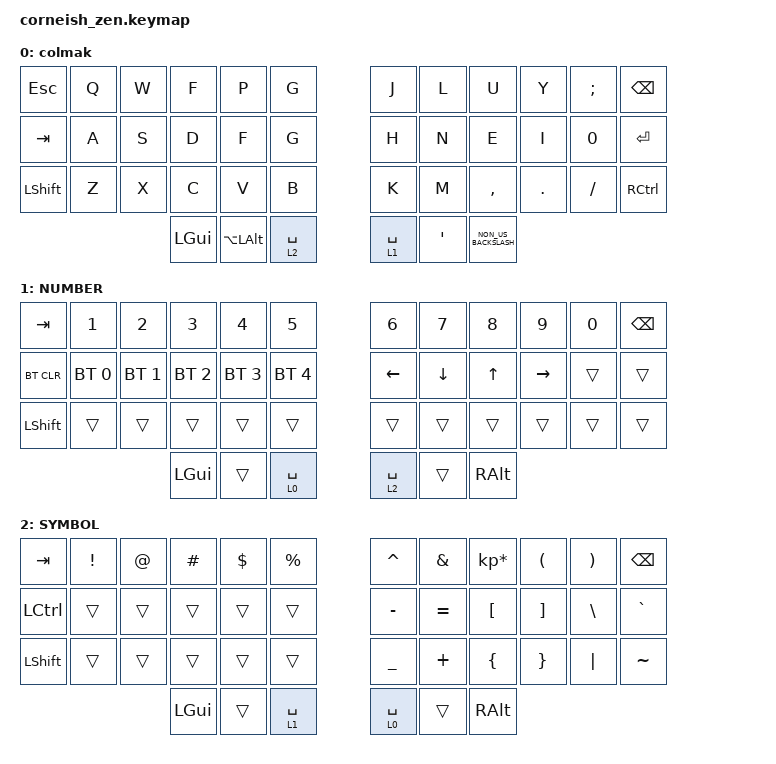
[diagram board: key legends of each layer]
/*
*
* Copyright (c) 2021 Darryl deHaan
* SPDX-License-Identifier: MIT
*
*/

#include <behaviors.dtsi>
#include <dt-bindings/zmk/bt.h>
#include <dt-bindings/zmk/keys.h>

/ {
    chosen {
        zmk,matrix-transform = &default_transform;

        // zmk,matrix-transform = &five_column_transform;
    };
};

/ {
    keymap {
        compatible = "zmk,keymap";

        default_layer {
            display-name = "colmak";

            // --------------------------------------------------------------------------------
            // |  TAB |  Q  |  W  |  E  |  R  |  T  |   |  Y  |  U   |  I  |  O  |  P  | BKSP |
            // | CTRL |  A  |  S  |  D  |  F  |  G  |   |  H  |  J   |  K  |  L  |  ;  |  '   |
            // | SHFT |  Z  |  X  |  C  |  V  |  B  |   |  N  |  M   |  ,  |  .  |  /  | ESC  |
            //                    | GUI | LWR | SPC |   | ENT | RSE  | ALT |

            bindings = <
&kp ESCAPE  &kp Q  &kp W  &kp F     &kp P             &kp G          &kp J        &kp L    &kp U                 &kp Y    &kp SEMICOLON  &kp BSPC
&kp TAB     &kp A  &kp S  &kp D     &kp F             &kp G          &kp H        &kp N    &kp E                 &kp I    &kp N0         &kp ENTER
&kp LSHFT   &kp Z  &kp X  &kp C     &kp V             &kp B          &kp K        &kp M    &kp COMMA             &kp DOT  &kp FSLH       &kp RCTRL
                          &kp LGUI  &kp LA(LEFT_ALT)  &lt 2 SPACE    &lt 1 SPACE  &kp SQT  &kp NON_US_BACKSLASH
            >;
        };

        lower_layer {
            display-name = "NUMBER";

            // -----------------------------------------------------------------------------------------
            // |  TAB |  1  |  2  |  3  |  4  |  5  |   |  6  |  7  |  8  |  9  |  0  | BKSP |
            // | BTCLR| BT1 | BT2 | BT3 | BT4 | BT5 |   | LFT | DWN |  UP | RGT |     |      |
            // | SHFT |     |     |     |     |     |   |     |     |     |     |     |      |
            //                    | GUI |     | SPC |   | ENT |     | ALT |

            bindings = <
&kp TAB     &kp N1        &kp N2        &kp N3        &kp N4        &kp N5          &kp N6       &kp N7    &kp N8    &kp N9     &kp N0  &kp BSPC
&bt BT_CLR  &bt BT_SEL 0  &bt BT_SEL 1  &bt BT_SEL 2  &bt BT_SEL 3  &bt BT_SEL 4    &kp LEFT     &kp DOWN  &kp UP    &kp RIGHT  &trans  &trans
&kp LSHFT   &trans        &trans        &trans        &trans        &trans          &trans       &trans    &trans    &trans     &trans  &trans
                                        &kp LGUI      &trans        &lt 0 SPACE     &lt 2 SPACE  &trans    &kp RALT
            >;
        };

        raise_layer {
            display-name = "SYMBOL";

            // -----------------------------------------------------------------------------------------
            // |  TAB |  !  |  @  |  #  |  $  |  %  |   |  ^  |  &  |  *  |  (  |  )  | BKSP |
            // | CTRL |     |     |     |     |     |   |  -  |  =  |  [  |  ]  |  \  |  `   |
            // | SHFT |     |     |     |     |     |   |  _  |  +  |  {  |  }  | "|" |  ~   |
            //                    | GUI |     | SPC |   | ENT |     | ALT |

            bindings = <
&kp TAB    &kp EXCL  &kp AT  &kp HASH  &kp DLLR  &kp PRCNT      &kp CARET    &kp AMPS   &kp KP_MULTIPLY  &kp LPAR  &kp RPAR  &kp BSPC
&kp LCTRL  &trans    &trans  &trans    &trans    &trans         &kp MINUS    &kp EQUAL  &kp LBKT         &kp RBKT  &kp BSLH  &kp GRAVE
&kp LSHFT  &trans    &trans  &trans    &trans    &trans         &kp UNDER    &kp PLUS   &kp LBRC         &kp RBRC  &kp PIPE  &kp TILDE
                             &kp LGUI  &trans    &lt 1 SPACE    &lt 0 SPACE  &trans     &kp RALT
            >;
        };
    };
};
